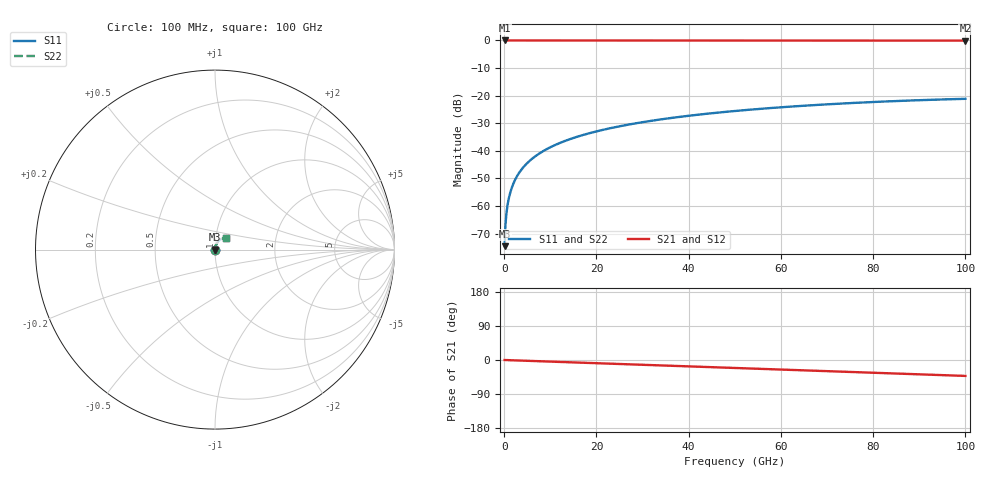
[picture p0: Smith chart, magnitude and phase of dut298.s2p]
! Touchstone file exported from HFSS 2026.1.0
!  File:  C:/ffzhzh/LocalFiles/Ansys_Project_Files/temp_train_TSV_298_1783509137_9504.aedt
!  Generated:  07:13:28 PM Jul  8, 2026
!  Design:  TSV
!  Project:  temp_train_TSV_298_1783509137_9504
! Variables:
!  h_bsmrdl = 2um
!  h_ox = 20um
!  h_rdl = 5um
!  h_sub = 80.84um
!  h_tmrdl = 5um
!  h_tsv = 80.84um
!  h_via = 3um
!  l_bsmrdl = 300um
!  l_sub = 422.4um
!  l_tmrdl = 200um
!  m_sub = 200um
!  pitch = 53.59um
!  r_tsv = 11.2um
!  s_tmrdl = 10um
!  w_bsmrdl = 18um
!  w_sub = 500um
!  w_tmrdl = 12um
!  x_tsv_center1 = 206um
!  x_tsv_center2 = 524um
!  x_tsv_center3 = 736um
!  x_tsv_center4 = 1054um
!  x_tsv_center5 = 1266um
!  x_tsv_center6 = 1584um
# GHz S MA R 50.000000
! Terminal data exported
! Port[1] = TSV1_1_T1
! Port[2] = TSV1_1_T2
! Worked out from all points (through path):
!   1000 points, 100 MHz to 100 GHz, reference 50 ohm
!   highest |S21| = 0.00 dB at 100 MHz (marker M1); lowest = -0.1 dB at 100 GHz (marker M2)
!   group delay of S21, straight-line fit = 1.17 ps
!   lowest |S11| = -74.6 dB at 100 MHz (marker M3), VSWR 1.00, Z = 50 + j0.0153 ohm
!   |S11| at or under -10 dB: start of sweep to end of sweep
!   |S22| runs from -74.6 to -21.2 dB; largest |S21 - S12| = 3.3e-15
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0.1  0.0001865 55.3  0.9999 -0.0  0.9999 -0.0  0.0001865 55.3
! Gamma 0 0 0 0
! Port Impedance 50 0 50 0
0.3  0.0004675 72.9  0.9999 -0.1  0.9999 -0.1  0.0004675 72.9
0.7  0.0009924 77.1  0.9998 -0.3  0.9998 -0.3  0.0009924 77.1
0.8  0.001116 77.6  0.9998 -0.3  0.9998 -0.3  0.001116 77.6
1  0.001358 78.5  0.9997 -0.4  0.9997 -0.4  0.001358 78.5
1.3  0.001715 79.5  0.9997 -0.6  0.9997 -0.6  0.001715 79.5
1.8  0.002306 80.6  0.9997 -0.8  0.9997 -0.8  0.002306 80.6
2.3  0.002892 81.3  0.9996 -1.0  0.9996 -1.0  0.002892 81.3
3  0.003702 81.8  0.9995 -1.3  0.9995 -1.3  0.003702 81.8
3.8  0.004618 82.1  0.9995 -1.6  0.9995 -1.6  0.004618 82.1
4.8  0.005752 82.3  0.9994 -2.0  0.9994 -2.0  0.005752 82.3
6  0.007103 82.3  0.9993 -2.5  0.9993 -2.5  0.007103 82.3
8.8  0.01023 82.0  0.9992 -3.7  0.9992 -3.7  0.01023 82.0
12.4  0.01421 81.0  0.999 -5.2  0.999 -5.2  0.01421 81.0
16.8  0.019 79.6  0.9987 -7.1  0.9987 -7.1  0.019 79.6
24.2  0.02693 77.1  0.9983 -10.2  0.9983 -10.2  0.02693 77.1
33.4  0.03649 73.6  0.9978 -14.1  0.9978 -14.1  0.03649 73.6
41.2  0.04427 70.5  0.9973 -17.3  0.9973 -17.3  0.04427 70.6
50.1  0.0527 67.0  0.9967 -21.1  0.9967 -21.1  0.0527 67.0
66.7  0.06693 60.3  0.9956 -28.0  0.9956 -28.0  0.06692 60.3
83.4  0.07878 53.4  0.9944 -35.0  0.9944 -35.0  0.07878 53.5
100  0.08748 46.6  0.9933 -42.0  0.9933 -42.0  0.08748 46.7
